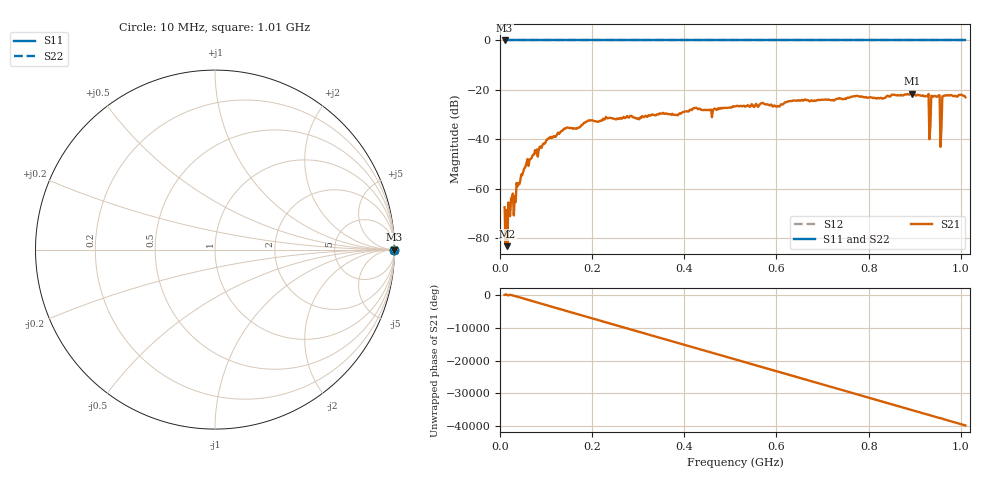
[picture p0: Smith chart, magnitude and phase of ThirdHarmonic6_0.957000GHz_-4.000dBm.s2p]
! 8/16/2025 7:01:27 AM
! C:\ANRITSUVNA\TEMP\TEMP.S2P
! CHANNEL.1
! TR.MEASUREMENT
! RAW.DATA
! RF.CORRECTION.OFF
! AVERAGING.OFF
! IF.BANDWIDTH: 5KHZ
! SWEEPTYPE:  FREQ.SWEEP(Linear)
! Reference Plane Port Info
! PORT:  PORT1  PORT2
! DISTANCE:  0  m  0  m
! TIME:  0  s  0  s
! PHASE.OFFSET:  0  deg.  0  deg.
! LOSS:  0  dB  0  dB
! REF.LOSS:  0  dB  0  dB
! REF.FREQ:  0  Hz  0  Hz
! Power Info
! POWER:  -20  dBm  -20  dBm
! EFF.POWER:  -20  dBm  -20  dBm
! SOURCE.ATTEN:  0  dB  0  dB
! TEST.ATTEN:  0  dB  0  dB
# GHZ S RI R 50.0
! FREQ.GHZ  S11RE  S11IM  S21RE  S21IM  S12RE  S12IM  S22RE  S22IM
!; PortSelection: Port_12
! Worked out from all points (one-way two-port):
!   501 points, 10 MHz to 1.01 GHz, reference 50 ohm
!   highest |S21| = -21.54 dB at 894 MHz (marker M1); lowest = -83.3 dB at 16 MHz (marker M2)
!   lowest |S11| = 0.0 dB at 10 MHz (marker M3)
!   |S11| at or under -10 dB: nowhere
!   |S22| runs from 0.0 to 0.0 dB; largest |S21 - S12| = 1.1
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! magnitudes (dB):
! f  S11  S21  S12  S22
! 10 MHz  0.0  -67.5  0.0  0.0
! 16 MHz  0.0  -83.3  0.0  0.0
! 22 MHz  0.0  -71.1  0.0  0.0
! 34 MHz  0.0  -65.4  0.0  0.0
! 56 MHz  0.0  -50.8  0.0  0.0
! 76 MHz  0.0  -44.4  0.0  0.0
! 142 MHz  0.0  -35.7  0.0  0.0
! 178 MHz  0.0  -34.2  0.0  0.0
! 344 MHz  0.0  -30.0  0.0  0.0
! 510 MHz  0.0  -26.7  0.0  0.0
! 678 MHz  0.0  -24.4  0.0  0.0
! 844 MHz  0.0  -22.6  0.0  0.0
! 894 MHz  0.0  -21.5  0.0  0.0
! 926 MHz  0.0  -22.5  0.0  0.0
! 930 MHz  0.0  -21.6  0.0  0.0
! 936 MHz  0.0  -22.4  0.0  0.0
! 940 MHz  0.0  -22.8  0.0  0.0
! 950 MHz  0.0  -22.6  0.0  0.0
! 954 MHz  0.0  -22.1  0.0  0.0
! 960 MHz  0.0  -22.7  0.0  0.0
! 964 MHz  0.0  -22.4  0.0  0.0
! 1.01 GHz  0.0  -23.0  0.0  0.0
